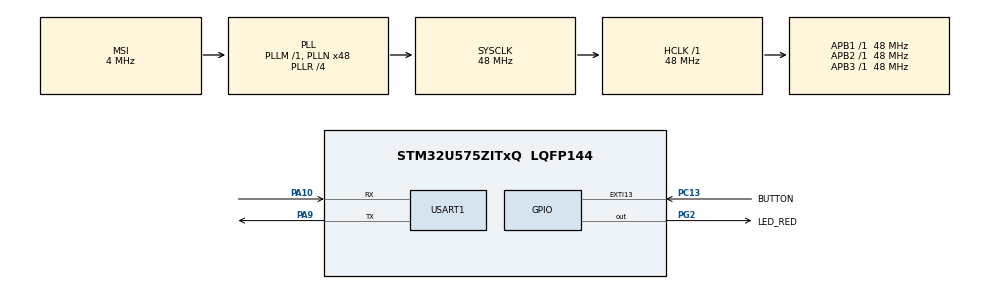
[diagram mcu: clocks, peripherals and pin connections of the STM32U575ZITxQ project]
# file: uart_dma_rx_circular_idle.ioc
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CORTEX_M33_NS.userName=CORTEX_M33
GPDMA1.CIRCULARMODE_GPDMACH0=ENABLE
GPDMA1.DESTINC_GPDMACH0=DMA_DINC_INCREMENTED
GPDMA1.DIRECTION_GPDMACH1=DMA_MEMORY_TO_PERIPH
GPDMA1.IPHANDLE_GPDMACH0-SIMPLEREQUEST_GPDMACH0=__NULL
GPDMA1.IPHANDLE_GPDMACH1-SIMPLEREQUEST_GPDMACH1=__NULL
GPDMA1.REQUEST_GPDMACH0=GPDMA1_REQUEST_USART1_RX
GPDMA1.REQUEST_GPDMACH1=GPDMA1_REQUEST_USART1_TX
GPDMA1.SRCINC_GPDMACH1=DMA_SINC_INCREMENTED
Mcu.Family=STM32U5
Mcu.Name=STM32U575ZITxQ
Mcu.Package=LQFP144
NVIC.EXTI13_IRQn=true\:5\:0\:true\:false\:true\:true\:true\:true
NVIC.GPDMA1_Channel0_IRQn=true\:5\:0\:true\:false\:true\:false\:true\:true
NVIC.GPDMA1_Channel1_IRQn=true\:5\:0\:true\:false\:true\:false\:true\:true
NVIC.PriorityGroup=NVIC_PRIORITYGROUP_4
NVIC.USART1_IRQn=true\:5\:0\:true\:false\:true\:true\:true\:true
PA10.Mode=Asynchronous
PA10.Signal=USART1_RX
PA9.Mode=Asynchronous
PA9.Signal=USART1_TX
PC13.GPIO_Label=BUTTON
PC13.GPIO_ModeDefaultEXTI=GPIO_MODE_IT_RISING_FALLING
PC13.Signal=GPXTI13
PC14-OSC32_IN\ (PC14).Mode=LSE-External-Oscillator
PC14-OSC32_IN\ (PC14).Signal=RCC_OSC32_IN
PC15-OSC32_OUT\ (PC15).Mode=LSE-External-Oscillator
PC15-OSC32_OUT\ (PC15).Signal=RCC_OSC32_OUT
PG2.GPIO_Label=LED_RED
PG2.Signal=GPIO_Output
PWR.PowerMode=PWR_SMPS_SUPPLY
ProjectManager.HeapSize=0x200
ProjectManager.StackSize=0x400
ProjectManager.TargetToolchain=STM32CubeIDE
RCC.ADCFreq_Value=16000000
RCC.AHBFreq_Value=48000000
RCC.APB1Freq_Value=48000000
RCC.APB1TimFreq_Value=48000000
RCC.APB2Freq_Value=48000000
RCC.APB2TimFreq_Value=48000000
RCC.APB3Freq_Value=48000000
RCC.CortexFreq_Value=48000000
RCC.EPOD_VALUE=4000000
RCC.HCLKFreq_Value=48000000
RCC.HSE_VALUE=16000000
RCC.HSI48_VALUE=48000000
RCC.HSI_VALUE=16000000
RCC.LSIDIV_VALUE=32000
RCC.MSIAutoCalibration=PLLMODE_MSIS
RCC.MSI_VALUE=4000000
RCC.PLL1R=4
RCC.PLLN=48
RCC.SYSCLKFreq_VALUE=48000000
RCC.SYSCLKSource=RCC_SYSCLKSOURCE_PLLCLK
RCC.USBFreq_Value=48000000
RCC.VCOOutputFreq_Value=192000000
USART1.VirtualMode-Asynchronous=VM_ASYNC
VP_GPDMA1_VS_GPDMACH0.Mode=SIMPLEREQUEST_GPDMACH0
VP_GPDMA1_VS_GPDMACH1.Mode=SIMPLEREQUEST_GPDMACH1
VP_ICACHE_VS_ICACHE.Mode=DirectMappedCache
VP_LPBAMQUEUE_VS_QUEUE.Mode=QUEUEMODE
VP_LPBAM_VS_SIG1.Mode=SmartRun
VP_LPBAM_VS_SIG4.Mode=LPDMA1
VP_MEMORYMAP_VS_MEMORYMAP.Mode=CurAppReg
VP_PWR_VS_LPOM.Mode=PowerOptimisation
VP_PWR_VS_SECSignals.Mode=Security/Privilege
board=custom

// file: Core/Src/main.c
/* USER CODE BEGIN Header */
/**
  ******************************************************************************
  * @file           : main.c
  * @brief          : Main program body
  ******************************************************************************
  * @attention
  *
  * Copyright (c) 2025 STMicroelectronics.
  * All rights reserved.
  *
  * This software is licensed under terms that can be found in the LICENSE file
  * in the root directory of this software component.
  * If no LICENSE file comes with this software, it is provided AS-IS.
  *
  ******************************************************************************
  */
/* USER CODE END Header */
#include "main.h"

/* USER CODE BEGIN Includes */
#include <string.h>
#include "interrupt_callbacks.h"
/* USER CODE END Includes */

UART_HandleTypeDef huart1;
DMA_HandleTypeDef handle_GPDMA1_Channel1;
DMA_NodeTypeDef Node_GPDMA1_Channel0;
DMA_QListTypeDef List_GPDMA1_Channel0;
DMA_HandleTypeDef handle_GPDMA1_Channel0;

void SystemClock_Config(void);
static void SystemPower_Config(void);
static void MX_GPIO_Init(void);
static void MX_GPDMA1_Init(void);
static void MX_ICACHE_Init(void);
static void MX_USART1_UART_Init(void);

int main(void)
{

  /* USER CODE BEGIN 1 */
  const uint32_t RX_BUF_SIZE = 16U;
  uint8_t uart_rx_buf[RX_BUF_SIZE];
  uint16_t uart_rx_buf_ptr_prev = 0U;
  uint16_t uart_rx_buf_ptr_current = 0U;
  uint8_t uart_tx_buf[16];

  uint32_t copy_len1, copy_len2;
  /* USER CODE END 1 */

  /* MCU Configuration--------------------------------------------------------*/

  /* Reset of all peripherals, Initializes the Flash interface and the Systick. */
  HAL_Init();

  /* Configure the System Power */
  SystemPower_Config();

  /* Configure the system clock */
  SystemClock_Config();

  /* Initialize all configured peripherals */
  MX_GPIO_Init();
  MX_GPDMA1_Init();
  MX_ICACHE_Init();
  MX_USART1_UART_Init();
  /* USER CODE BEGIN 2 */
  HAL_UARTEx_ReceiveToIdle_DMA(&huart1, uart_rx_buf, RX_BUF_SIZE);
  /* USER CODE END 2 */

  /* Infinite loop */
  /* USER CODE BEGIN WHILE */
  while (1)
  {
	  if (uart_rx_event) {
		  uart_rx_event = 0U;

		  uart_rx_buf_ptr_current = uart_rx_buf_ptr % RX_BUF_SIZE;

		  if (uart_rx_buf_ptr_current > uart_rx_buf_ptr_prev) { // No buffer rollover (end not reached)
			  // Copy bytes between previous and current buf_ptr
			  copy_len1 = uart_rx_buf_ptr_current - uart_rx_buf_ptr_prev;
			  copy_len2 = 0U;
			  memcpy(&uart_tx_buf[0], &uart_rx_buf[uart_rx_buf_ptr_prev], copy_len1);
		  } else if (uart_rx_buf_ptr_current < uart_rx_buf_ptr_prev) { // Buffer rollover (end reached)
			  // 1. Copy memory range between prev buf_ptr and buffer end
			  copy_len1 = RX_BUF_SIZE - uart_rx_buf_ptr_prev;
			  memcpy(&uart_tx_buf[0], &uart_rx_buf[uart_rx_buf_ptr_prev], copy_len1);

			  // 2. Copy memory range between buffer begin and current buf_ptr
			  if (uart_rx_buf_ptr_current > 0U) {
				  copy_len2 = uart_rx_buf_ptr_current;
				  memcpy(&uart_tx_buf[copy_len1], &uart_rx_buf[0], copy_len2);
			  } else {
				  copy_len2 = 0U;
			  }
		  } else { // No new data
			  copy_len1 = 0U;
			  copy_len2 = 0U;
		  }

		  // Send back received data
		  if (copy_len1 > 0U) {
			  uart_tx_buf[copy_len1+copy_len2] = '\r';
			  uart_tx_buf[copy_len1+copy_len2+1U] = '\n';
			  if (HAL_UART_Transmit_DMA(&huart1, uart_tx_buf, copy_len1 + copy_len2 + 2U) == HAL_OK) {
				  while (uart_tx_event == 0U) {} // Wait for end of UART transmit
				  uart_tx_event = 0U;
			  }
		  }

		  // Save current buffer pointer as previous buffer pointer
		  uart_rx_buf_ptr_prev = uart_rx_buf_ptr_current;

	  }

	  if (button_rising) {
		  button_rising = 0U;
		  HAL_GPIO_WritePin(LED_RED_GPIO_Port, LED_RED_Pin, GPIO_PIN_SET);
	  }

	  if (button_falling) {
		  button_falling = 0U;
		  HAL_GPIO_WritePin(LED_RED_GPIO_Port, LED_RED_Pin, GPIO_PIN_RESET);
	  }
    /* USER CODE END WHILE */

  }
}

void SystemClock_Config(void)
{
  RCC_OscInitTypeDef RCC_OscInitStruct = {0};
  RCC_ClkInitTypeDef RCC_ClkInitStruct = {0};

  /** Configure the main internal regulator output voltage
  */
  if (HAL_PWREx_ControlVoltageScaling(PWR_REGULATOR_VOLTAGE_SCALE3) != HAL_OK)
  {
    Error_Handler();
  }

  /** Configure LSE Drive Capability
  */
  HAL_PWR_EnableBkUpAccess();
  __HAL_RCC_LSEDRIVE_CONFIG(RCC_LSEDRIVE_LOW);

  /** Initializes the CPU, AHB and APB buses clocks
  */
  RCC_OscInitStruct.OscillatorType = RCC_OSCILLATORTYPE_LSE|RCC_OSCILLATORTYPE_MSI;
  RCC_OscInitStruct.LSEState = RCC_LSE_ON;
  RCC_OscInitStruct.MSIState = RCC_MSI_ON;
  RCC_OscInitStruct.MSICalibrationValue = RCC_MSICALIBRATION_DEFAULT;
  RCC_OscInitStruct.MSIClockRange = RCC_MSIRANGE_4;
  RCC_OscInitStruct.PLL.PLLState = RCC_PLL_ON;
  RCC_OscInitStruct.PLL.PLLSource = RCC_PLLSOURCE_MSI;
  RCC_OscInitStruct.PLL.PLLMBOOST = RCC_PLLMBOOST_DIV1;
  RCC_OscInitStruct.PLL.PLLM = 1;
  RCC_OscInitStruct.PLL.PLLN = 48;
  RCC_OscInitStruct.PLL.PLLP = 2;
  RCC_OscInitStruct.PLL.PLLQ = 2;
  RCC_OscInitStruct.PLL.PLLR = 4;
  RCC_OscInitStruct.PLL.PLLRGE = RCC_PLLVCIRANGE_0;
  RCC_OscInitStruct.PLL.PLLFRACN = 0;
  if (HAL_RCC_OscConfig(&RCC_OscInitStruct) != HAL_OK)
  {
    Error_Handler();
  }

  /** Initializes the CPU, AHB and APB buses clocks
  */
  RCC_ClkInitStruct.ClockType = RCC_CLOCKTYPE_HCLK|RCC_CLOCKTYPE_SYSCLK
                              |RCC_CLOCKTYPE_PCLK1|RCC_CLOCKTYPE_PCLK2
                              |RCC_CLOCKTYPE_PCLK3;
  RCC_ClkInitStruct.SYSCLKSource = RCC_SYSCLKSOURCE_PLLCLK;
  RCC_ClkInitStruct.AHBCLKDivider = RCC_SYSCLK_DIV1;
  RCC_ClkInitStruct.APB1CLKDivider = RCC_HCLK_DIV1;
  RCC_ClkInitStruct.APB2CLKDivider = RCC_HCLK_DIV1;
  RCC_ClkInitStruct.APB3CLKDivider = RCC_HCLK_DIV1;

  if (HAL_RCC_ClockConfig(&RCC_ClkInitStruct, FLASH_LATENCY_1) != HAL_OK)
  {
    Error_Handler();
  }

  /** Enable MSI Auto calibration
  */
  HAL_RCCEx_EnableMSIPLLModeSelection(RCC_MSISPLL_MODE_SEL);
  HAL_RCCEx_EnableMSIPLLMode();
}

/**
  * @brief Power Configuration
  * @retval None
  */
static void SystemPower_Config(void)
{
  HAL_PWREx_EnableVddIO2();

  /*
   * Switch to SMPS regulator instead of LDO
   */
  if (HAL_PWREx_ConfigSupply(PWR_SMPS_SUPPLY) != HAL_OK)
  {
    Error_Handler();
  }
}

static void MX_GPDMA1_Init(void)
{

  /* Peripheral clock enable */
  __HAL_RCC_GPDMA1_CLK_ENABLE();

  /* GPDMA1 interrupt Init */
    HAL_NVIC_SetPriority(GPDMA1_Channel0_IRQn, 5, 0);
    HAL_NVIC_EnableIRQ(GPDMA1_Channel0_IRQn);
    HAL_NVIC_SetPriority(GPDMA1_Channel1_IRQn, 5, 0);
    HAL_NVIC_EnableIRQ(GPDMA1_Channel1_IRQn);

}

static void MX_ICACHE_Init(void)
{

  /** Enable instruction cache in 1-way (direct mapped cache)
  */
  if (HAL_ICACHE_ConfigAssociativityMode(ICACHE_1WAY) != HAL_OK)
  {
    Error_Handler();
  }
  if (HAL_ICACHE_Enable() != HAL_OK)
  {
    Error_Handler();
  }

}

static void MX_USART1_UART_Init(void)
{

  huart1.Instance = USART1;
  huart1.Init.BaudRate = 115200;
  huart1.Init.WordLength = UART_WORDLENGTH_8B;
  huart1.Init.StopBits = UART_STOPBITS_1;
  huart1.Init.Parity = UART_PARITY_NONE;
  huart1.Init.Mode = UART_MODE_TX_RX;
  huart1.Init.HwFlowCtl = UART_HWCONTROL_NONE;
  huart1.Init.OverSampling = UART_OVERSAMPLING_16;
  huart1.Init.OneBitSampling = UART_ONE_BIT_SAMPLE_DISABLE;
  huart1.Init.ClockPrescaler = UART_PRESCALER_DIV1;
  huart1.AdvancedInit.AdvFeatureInit = UART_ADVFEATURE_NO_INIT;
  if (HAL_UART_Init(&huart1) != HAL_OK)
  {
    Error_Handler();
  }
  if (HAL_UARTEx_SetTxFifoThreshold(&huart1, UART_TXFIFO_THRESHOLD_1_8) != HAL_OK)
  {
    Error_Handler();
  }
  if (HAL_UARTEx_SetRxFifoThreshold(&huart1, UART_RXFIFO_THRESHOLD_1_8) != HAL_OK)
  {
    Error_Handler();
  }
  if (HAL_UARTEx_DisableFifoMode(&huart1) != HAL_OK)
  {
    Error_Handler();
  }

}

static void MX_GPIO_Init(void)
{
  GPIO_InitTypeDef GPIO_InitStruct = {0};

  /* GPIO Ports Clock Enable */
  __HAL_RCC_GPIOC_CLK_ENABLE();
  __HAL_RCC_GPIOG_CLK_ENABLE();
  __HAL_RCC_GPIOA_CLK_ENABLE();

  /*Configure GPIO pin Output Level */
  HAL_GPIO_WritePin(LED_RED_GPIO_Port, LED_RED_Pin, GPIO_PIN_RESET);

  /*Configure GPIO pin : BUTTON_Pin */
  GPIO_InitStruct.Pin = BUTTON_Pin;
  GPIO_InitStruct.Mode = GPIO_MODE_IT_RISING_FALLING;
  GPIO_InitStruct.Pull = GPIO_NOPULL;
  HAL_GPIO_Init(BUTTON_GPIO_Port, &GPIO_InitStruct);

  /*Configure GPIO pin : LED_RED_Pin */
  GPIO_InitStruct.Pin = LED_RED_Pin;
  GPIO_InitStruct.Mode = GPIO_MODE_OUTPUT_PP;
  GPIO_InitStruct.Pull = GPIO_NOPULL;
  GPIO_InitStruct.Speed = GPIO_SPEED_FREQ_LOW;
  HAL_GPIO_Init(LED_RED_GPIO_Port, &GPIO_InitStruct);

  /* EXTI interrupt init*/
  HAL_NVIC_SetPriority(EXTI13_IRQn, 5, 0);
  HAL_NVIC_EnableIRQ(EXTI13_IRQn);

}

void Error_Handler(void)
{
  __disable_irq();
  while (1)
  {
  }
}
